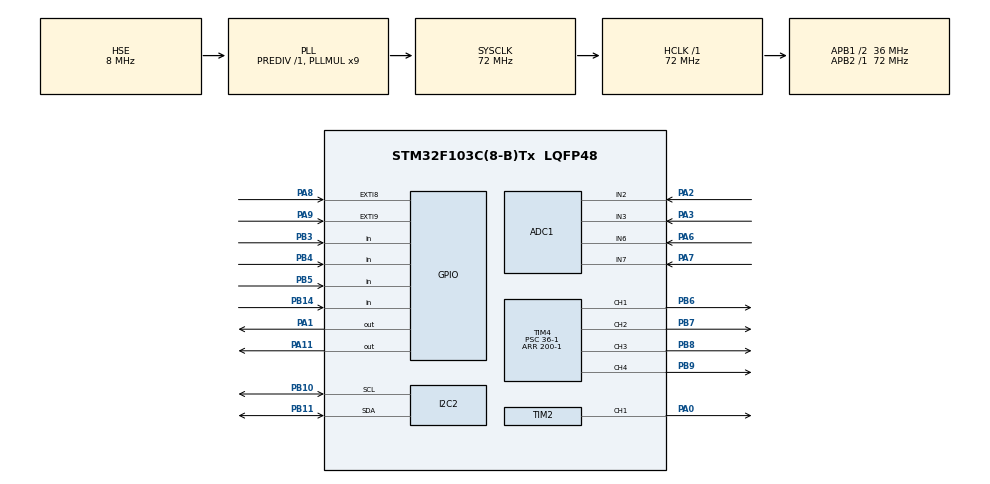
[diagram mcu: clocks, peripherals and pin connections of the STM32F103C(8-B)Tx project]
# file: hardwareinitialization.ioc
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ADC1.Channel-0\#ChannelRegularConversion=ADC_CHANNEL_2
ADC1.Channel-1\#ChannelRegularConversion=ADC_CHANNEL_6
ADC1.Channel-2\#ChannelRegularConversion=ADC_CHANNEL_7
ADC1.ContinuousConvMode=ENABLE
ADC1.EnableAnalogWatchDog=true
ADC1.NbrOfConversion=3
ADC1.NbrOfConversionFlag=1
ADC1.Rank-0\#ChannelRegularConversion=1
ADC1.Rank-1\#ChannelRegularConversion=2
ADC1.Rank-2\#ChannelRegularConversion=3
ADC1.SamplingTime-0\#ChannelRegularConversion=ADC_SAMPLETIME_41CYCLES_5
ADC1.SamplingTime-1\#ChannelRegularConversion=ADC_SAMPLETIME_41CYCLES_5
ADC1.SamplingTime-2\#ChannelRegularConversion=ADC_SAMPLETIME_41CYCLES_5
ADC1.WatchdogChannel=ADC_CHANNEL_2
ADC1.master=1
Dma.ADC1.0.Direction=DMA_PERIPH_TO_MEMORY
Dma.ADC1.0.Instance=DMA1_Channel1
Dma.ADC1.0.MemDataAlignment=DMA_MDATAALIGN_HALFWORD
Dma.ADC1.0.MemInc=DMA_MINC_ENABLE
Dma.ADC1.0.Mode=DMA_CIRCULAR
Dma.ADC1.0.PeriphDataAlignment=DMA_PDATAALIGN_HALFWORD
Dma.ADC1.0.PeriphInc=DMA_PINC_DISABLE
Dma.ADC1.0.Priority=DMA_PRIORITY_LOW
Dma.Request0=ADC1
Dma.Request1=TIM2_CH1
Dma.TIM2_CH1.1.Direction=DMA_MEMORY_TO_PERIPH
Dma.TIM2_CH1.1.Instance=DMA1_Channel5
Dma.TIM2_CH1.1.MemDataAlignment=DMA_MDATAALIGN_HALFWORD
Dma.TIM2_CH1.1.MemInc=DMA_MINC_ENABLE
Dma.TIM2_CH1.1.Mode=DMA_NORMAL
Dma.TIM2_CH1.1.PeriphDataAlignment=DMA_PDATAALIGN_HALFWORD
Dma.TIM2_CH1.1.PeriphInc=DMA_PINC_DISABLE
Dma.TIM2_CH1.1.Priority=DMA_PRIORITY_LOW
Mcu.Family=STM32F1
Mcu.Name=STM32F103C(8-B)Tx
Mcu.Package=LQFP48
NVIC.DMA1_Channel1_IRQn=true\:0\:0\:false\:false\:true\:false\:true\:true
NVIC.DMA1_Channel5_IRQn=true\:0\:0\:false\:false\:true\:false\:true\:true
NVIC.EXTI9_5_IRQn=true\:0\:0\:false\:false\:true\:true\:true\:true
NVIC.PriorityGroup=NVIC_PRIORITYGROUP_4
PA0-WKUP.Signal=S_TIM2_CH1_ETR
PA1.Signal=GPIO_Output
PA11.Signal=GPIO_Output
PA13.Mode=Serial_Wire
PA13.Signal=SYS_JTMS-SWDIO
PA14.Mode=Serial_Wire
PA14.Signal=SYS_JTCK-SWCLK
PA2.Signal=ADCx_IN2
PA3.Signal=ADCx_IN3
PA6.Signal=ADCx_IN6
PA7.Signal=ADCx_IN7
PA8.GPIO_ModeDefaultEXTI=GPIO_MODE_IT_RISING
PA8.GPIO_PuPd=GPIO_PULLDOWN
PA8.Signal=GPXTI8
PA9.Signal=GPXTI9
PB10.Mode=I2C
PB10.Signal=I2C2_SCL
PB11.Mode=I2C
PB11.Signal=I2C2_SDA
PB14.Signal=GPIO_Input
PB3.Signal=GPIO_Input
PB4.Signal=GPIO_Input
PB5.Signal=GPIO_Input
PB6.Signal=S_TIM4_CH1
PB7.Signal=S_TIM4_CH2
PB8.Signal=S_TIM4_CH3
PB9.Signal=S_TIM4_CH4
PD0-OSC_IN.Mode=HSE-External-Oscillator
PD0-OSC_IN.Signal=RCC_OSC_IN
PD1-OSC_OUT.Mode=HSE-External-Oscillator
PD1-OSC_OUT.Signal=RCC_OSC_OUT
ProjectManager.HeapSize=0x200
ProjectManager.StackSize=0x400
ProjectManager.TargetToolchain=STM32CubeIDE
RCC.ADCPresc=RCC_ADCPCLK2_DIV6
RCC.AHBFreq_Value=72000000
RCC.APB1CLKDivider=RCC_HCLK_DIV2
RCC.APB1Freq_Value=36000000
RCC.APB1TimFreq_Value=72000000
RCC.APB2Freq_Value=72000000
RCC.APB2TimFreq_Value=72000000
RCC.HCLKFreq_Value=72000000
RCC.PLLMUL=RCC_PLL_MUL9
RCC.PLLSourceVirtual=RCC_PLLSOURCE_HSE
RCC.SYSCLKFreq_VALUE=72000000
RCC.SYSCLKSource=RCC_SYSCLKSOURCE_PLLCLK
RCC.USBFreq_Value=72000000
SH.ADCx_IN2.0=ADC1_IN2,IN2
SH.ADCx_IN3.0=ADC1_IN3,IN3
SH.ADCx_IN6.0=ADC1_IN6,IN6
SH.ADCx_IN7.0=ADC1_IN7,IN7
SH.S_TIM2_CH1_ETR.0=TIM2_CH1,PWM Generation1 CH1
SH.S_TIM4_CH1.0=TIM4_CH1,PWM Generation1 CH1
SH.S_TIM4_CH2.0=TIM4_CH2,PWM Generation2 CH2
SH.S_TIM4_CH3.0=TIM4_CH3,PWM Generation3 CH3
SH.S_TIM4_CH4.0=TIM4_CH4,PWM Generation4 CH4
TIM1.AutoReloadPreload=TIM_AUTORELOAD_PRELOAD_ENABLE
TIM1.Period=1000
TIM1.Prescaler=259
TIM2.AutoReloadPreload=TIM_AUTORELOAD_PRELOAD_ENABLE
TIM2.Channel-PWM\ Generation1\ CH1=TIM_CHANNEL_1
TIM2.Period=89
TIM4.AutoReloadPreload=TIM_AUTORELOAD_PRELOAD_DISABLE
TIM4.Channel-PWM\ Generation1\ CH1=TIM_CHANNEL_1
TIM4.Channel-PWM\ Generation2\ CH2=TIM_CHANNEL_2
TIM4.Channel-PWM\ Generation3\ CH3=TIM_CHANNEL_3
TIM4.Channel-PWM\ Generation4\ CH4=TIM_CHANNEL_4
TIM4.Period=200-1
TIM4.Prescaler=36-1
VP_TIM1_VS_ClockSourceINT.Mode=Internal
VP_TIM2_VS_ClockSourceINT.Mode=Internal
VP_TIM4_VS_ClockSourceINT.Mode=Internal
board=custom

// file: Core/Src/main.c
/* USER CODE BEGIN Header */
/**
  ******************************************************************************
  * @file           : main.c
  * @brief          : Main program body
  ******************************************************************************
  * @attention
  *
  * Copyright (c) 2026 STMicroelectronics.
  * All rights reserved.
  *
  * This software is licensed under terms that can be found in the LICENSE file
  * in the root directory of this software component.
  * If no LICENSE file comes with this software, it is provided AS-IS.
  *
  ******************************************************************************
  */
/* USER CODE END Header */
#include "main.h"
#include "adc.h"
#include "dma.h"
#include "i2c.h"
#include "tim.h"
#include "gpio.h"

/* USER CODE BEGIN Includes */

#include "MySrc/debug_vars.h"
#include "MySrc/defines.h"
#include "MySrc/forward_range.h"
#include "MySrc/light.h"
#include "MySrc/magnet.h"
#include "MySrc/median_calculator.h"
#include "MySrc/move.h"
#include "MySrc/platform_adapter.h"
#include "MySrc/seek.h"
#include "MySrc/sharp_manager.h"
#include "MySrc/vl53l0x.h"
#include "MySrc/ws2812b.h"

/* USER CODE END Includes */

/* USER CODE BEGIN PD */

/* ===========================================================================
 *  SENSOR BENCH TESTS
 *  ---------------------------------------------------------------------------
 *  Only ONE test runs at a time. Set SENSOR_TEST_SELECT below, rebuild, flash.
 *  When a test is selected it runs forever and the normal robot logic (motors,
 *  ADC, etc.) never starts -- so the bot stays still on the bench.
 *  Set it back to SENSOR_TEST_NONE to build the real robot firmware again.
 * ===========================================================================*/
#define SENSOR_TEST_NONE        0
#define SENSOR_TEST_START_STOP  1   /* start_stop module on PA8 */
#define SENSOR_TEST_SHARP_IR    2   /* Sharp long IR x3 via SharpManager + ADC/DMA */
#define SENSOR_TEST_TOF         3   /* VL53L0X time-of-flight via Vl53l0x lib (I2C2) */

#ifndef SENSOR_TEST_SELECT
#define SENSOR_TEST_SELECT      SENSOR_TEST_NONE
#endif

/* USER CODE END PD */

/* USER CODE BEGIN PV */
/* Length MUST match the ADC's NbrOfConversion (5: IN1,IN2,IN3,IN6,IN7 =
 * PA1,PA2,PA3,PA6,PA7). A shorter circular buffer makes the channels rotate
 * through the slots and scrambles every Sharp reading. Slots: [0]=PA1 (magnet,
 * unused), [1]=PA2 IR_M, [2]=PA3 (unused), [3]=PA6 IR_L, [4]=PA7 IR_R. */
volatile uint16_t adc_raw[5] = {0};

static SharpManager g_sharp_manager;
static Vl53l0x g_tof;
static ForwardRange g_forward;
static MedianCalculator g_median_calculator;
static Move move;
static Seek g_seek;
static Magnet g_magnet;
static Light g_fr;
static Light g_fl;
static Light g_br;
static Light g_bl;

/* Fast seek tuning template: update values here for quick strategy iteration. */
static const SeekTuning g_seek_tuning = SEEK_TUNING_DEFAULT_INITIALIZER;
static volatile SeekMode g_seek_mode = SEEK_MODE_LOOK;

/* Match control signals (all active-high level inputs, stable from power-up):
 *   PB5 - strategy select, latched once at boot (0 -> strategy 0, 1 -> strategy 1)
 *   PA8 - start: the match begins when this reads 1
 *   PA9 - finish: the match ends (stop + magnets off) when this reads 1 */
#define APP_STRATEGY_PORT   GPIOB
#define APP_STRATEGY_PIN    GPIO_PIN_5
#define APP_START_PORT      GPIOA
#define APP_START_PIN       GPIO_PIN_8
#define APP_FINISH_PORT     GPIOA
#define APP_FINISH_PIN      GPIO_PIN_9

/* PA8 start gate and PA9 finish handling: when 1 the bot stays planted until the
 * start signal (PA8) goes high, then runs the strategy, and halts when the finish
 * signal (PA9) goes high. Set to 0 to run immediately and never auto-halt. */
#define APP_USE_START_FINISH_SIGNALS 1

/* Temporary bench behaviour: ignore the strategies and just drive straight
 * forward with the electromagnet held at 100. Set to 0 to restore the normal
 * strategy dispatch. */
#define APP_FORWARD_MAGNET_TEST 0
#define APP_FORWARD_TEST_SPEED  255

/* Edge reflex. The two wired light sensors watch the arena boundary: on the
 * trigger color the bot stops, backs off the line, then spins away from
 * whichever side hit it (left sensor -> rotate right, right sensor -> rotate
 * left), then resumes. Sensor->side mapping is set in App_SeesLine(); swap it
 * there if the bot turns the wrong way. Tune the durations/speeds here. */
#define APP_LINE_TRIGGER_COLOR  BBB_BLACK   /* color that counts as "the line"; flip to BBB_WHITE */
#define APP_LINE_BACKUP_MS      500U
#define APP_LINE_BACKUP_SPEED   255
#define APP_LINE_ROTATE_MS      500U
#define APP_LINE_ROTATE_SPEED   255

/* Forward distance (cm) at/below which a visible target counts as "catching"
 * (opponent right in front) rather than "chasing". Drives the magnet policy. */
#define APP_CATCH_DISTANCE_CM   20.0

typedef enum
{
    APP_STRATEGY_0 = 0,   /* PB5 == 0: seek / chase / catch (implemented) */
    APP_STRATEGY_1 = 1    /* PB5 == 1: alternate strategy (stub)          */
} AppStrategy;

static volatile AppStrategy g_strategy = APP_STRATEGY_0;

static Light *g_lights[4] =
{
  &g_fr,
  &g_fl,
  &g_br,
  &g_bl
};

static const uint8_t g_light_input_ids[4] =
{
  PLATFORM_LIGHT_INPUT_COL1,
  PLATFORM_LIGHT_INPUT_COL2,
  PLATFORM_LIGHT_INPUT_COL3,
  PLATFORM_LIGHT_INPUT_COL4
};

/* USER CODE END PV */

void SystemClock_Config(void);
/* USER CODE BEGIN PFP */
static void MX_USART1_UART_Init(void);
static void App_InitParityGpio(void);
static void App_Strategy0_Tick(void);   /* seek / chase / catch */
static void App_Strategy1_Tick(void);   /* alternate strategy (stub) */
static bool App_SeesLine(bool *rotate_dir);     /* PB3/PB4 on the line; sets turn-away dir */
static void App_LineAvoidManeuver(bool rotate_dir); /* stop -> reverse -> rotate -> resume */
#if SENSOR_TEST_SELECT != SENSOR_TEST_NONE
static void SensorTest_Run(void);
#endif

/* USER CODE END PFP */

int main(void)
{

  /* MCU Configuration--------------------------------------------------------*/

  /* Reset of all peripherals, Initializes the Flash interface and the Systick. */
  HAL_Init();

  /* Configure the system clock */
  SystemClock_Config();

  /* Initialize all configured peripherals */
  MX_GPIO_Init();
  MX_DMA_Init();
  MX_ADC1_Init();
  MX_TIM4_Init();
  MX_TIM2_Init();
  MX_I2C2_Init();
  MX_TIM1_Init();
  /* USER CODE BEGIN 2 */
#if SENSOR_TEST_SELECT != SENSOR_TEST_NONE
  /* Bench test mode: run the selected sensor test forever. Each test brings up
   * only the peripherals it needs. The motor startup below is intentionally
   * skipped so the bot stays still on the bench. */
  SensorTest_Run();   /* never returns */
#endif

  if (HAL_ADC_Start_DMA(&hadc1, (uint32_t *)adc_raw, 5) != HAL_OK)
  {
    Error_Handler();
  }

  HAL_TIM_PWM_Start(&htim4, TIM_CHANNEL_1);
  HAL_TIM_PWM_Start(&htim4, TIM_CHANNEL_2);
  HAL_TIM_PWM_Start(&htim4, TIM_CHANNEL_3);
  HAL_TIM_PWM_Start(&htim4, TIM_CHANNEL_4);

  App_InitParityGpio();

  SharpManager_Init(&g_sharp_manager);
  Vl53l0x_Init(&g_tof);
  ForwardRange_Init(&g_forward, &g_tof, &g_sharp_manager);
  MedianCalculator_Init(&g_median_calculator);
  Move_Init(&move);
  Seek_Init(&g_seek);
  Seek_SetTuning(&g_seek, &g_seek_tuning);
  Magnet_Init(&g_magnet);   /* PWM up + default holding force from power-up */
  WS2812B_Init();

  {
    uint32_t i;

    for (i = 0; i < 4U; ++i)
    {
      Light_Init(g_lights[i], g_light_input_ids[i], false);
    }
  }

#if APP_USE_START_FINISH_SIGNALS
  /* Start gate: stay planted (motors stopped, magnet engaged) until the start
   * signal goes high on PA8, so the bot never moves before the match begins. */
  Move_Stop(&move);
  Magnet_Default(&g_magnet);
  while (HAL_GPIO_ReadPin(APP_START_PORT, APP_START_PIN) == GPIO_PIN_RESET)
  {
    /* wait for start */
  }
#endif

  /* USER CODE END 2 */

  /* Infinite loop */
  while (1)
  {

    /* USER CODE BEGIN 3 */

#if APP_USE_START_FINISH_SIGNALS
    /* Finish: PA9 high ends the match. Stop driving, release the magnets, and
     * halt - no further sensing or movement. */
    if (HAL_GPIO_ReadPin(APP_FINISH_PORT, APP_FINISH_PIN) == GPIO_PIN_SET)
    {
      Move_Stop(&move);
      Magnet_Off(&g_magnet);
      break;
    }
#endif

    /* Edge reflex runs above the strategy: a line under either light sensor
     * means we are at the arena boundary, so back off and turn away from the
     * side that hit it before any normal driving this tick. */
    bool line_rotate_dir;
    if (App_SeesLine(&line_rotate_dir))
    {
      App_LineAvoidManeuver(line_rotate_dir);
    }
    else
    {
#if APP_FORWARD_MAGNET_TEST
    /* Straight-forward bench test: magnet at max, drive forward at max. */
    Magnet_SetStrength(&g_magnet, MAGNET_PWM_PERIOD);
    Move_Walk(&move, MOVE_FORWARD, APP_FORWARD_TEST_SPEED);
    Move_Update(&move);
#else
    if (g_strategy == APP_STRATEGY_1)
    {
      App_Strategy1_Tick();
    }
    else
    {
      App_Strategy0_Tick();
    }
#endif
    }

    HAL_Delay(5);
  }

#if APP_USE_START_FINISH_SIGNALS
  /* Match finished (PA9): remain stopped and de-energized for good. */
  Move_Stop(&move);
  Magnet_Off(&g_magnet);
  while (1)
  {
  }
#endif
  /* USER CODE END 3 */
}

void SystemClock_Config(void)
{
  RCC_OscInitTypeDef RCC_OscInitStruct = {0};
  RCC_ClkInitTypeDef RCC_ClkInitStruct = {0};
  RCC_PeriphCLKInitTypeDef PeriphClkInit = {0};

  /** Initializes the RCC Oscillators according to the specified parameters
  * in the RCC_OscInitTypeDef structure.
  */
  RCC_OscInitStruct.OscillatorType = RCC_OSCILLATORTYPE_HSE;
  RCC_OscInitStruct.HSEState = RCC_HSE_ON;
  RCC_OscInitStruct.HSEPredivValue = RCC_HSE_PREDIV_DIV1;
  RCC_OscInitStruct.HSIState = RCC_HSI_ON;
  RCC_OscInitStruct.PLL.PLLState = RCC_PLL_ON;
  RCC_OscInitStruct.PLL.PLLSource = RCC_PLLSOURCE_HSE;
  RCC_OscInitStruct.PLL.PLLMUL = RCC_PLL_MUL9;
  if (HAL_RCC_OscConfig(&RCC_OscInitStruct) != HAL_OK)
  {
    Error_Handler();
  }

  /** Initializes the CPU, AHB and APB buses clocks
  */
  RCC_ClkInitStruct.ClockType = RCC_CLOCKTYPE_HCLK|RCC_CLOCKTYPE_SYSCLK
                              |RCC_CLOCKTYPE_PCLK1|RCC_CLOCKTYPE_PCLK2;
  RCC_ClkInitStruct.SYSCLKSource = RCC_SYSCLKSOURCE_PLLCLK;
  RCC_ClkInitStruct.AHBCLKDivider = RCC_SYSCLK_DIV1;
  RCC_ClkInitStruct.APB1CLKDivider = RCC_HCLK_DIV2;
  RCC_ClkInitStruct.APB2CLKDivider = RCC_HCLK_DIV1;

  if (HAL_RCC_ClockConfig(&RCC_ClkInitStruct, FLASH_LATENCY_2) != HAL_OK)
  {
    Error_Handler();
  }
  PeriphClkInit.PeriphClockSelection = RCC_PERIPHCLK_ADC;
  PeriphClkInit.AdcClockSelection = RCC_ADCPCLK2_DIV6;
  if (HAL_RCCEx_PeriphCLKConfig(&PeriphClkInit) != HAL_OK)
  {
    Error_Handler();
  }
}

/* USER CODE BEGIN 4 */

#if SENSOR_TEST_SELECT == SENSOR_TEST_START_STOP
/*
 * start_stop module test (PA8).
 *   PA8 == 1  -> WS2812B LED red
 *   PA8 == 0  -> WS2812B LED blue
 * The signal is driven by another MCU (push-pull), so PA8 stays NOPULL.
 * PA8 is already configured as an input by MX_GPIO_Init(), so reading its level
 * works as-is. We only refresh the LED when the level changes to avoid hammering
 * the DMA every loop. Adjust LED_BRIGHTNESS (0..255) to taste.
 */
#define LED_BRIGHTNESS  120U

static void SensorTest_Run(void)
{
  GPIO_PinState last = (GPIO_PinState)2;  /* force a refresh on first pass */

  WS2812B_Init();

  for (;;)
  {
    GPIO_PinState now = HAL_GPIO_ReadPin(GPIOA, GPIO_PIN_8);

    if (now != last)
    {
      if (now == GPIO_PIN_SET)
      {
        WS2812B_SetColor(0U, LED_BRIGHTNESS, 0U, 0U);   /* PA8 = 1 -> red  */
      }
      else
      {
        WS2812B_SetColor(0U, 0U, 0U, LED_BRIGHTNESS);   /* PA8 = 0 -> blue */
      }
      WS2812B_Send();
      last = now;
    }

    HAL_Delay(10);   /* ~100 Hz poll, plenty for a start/stop signal */
  }
}
#endif /* SENSOR_TEST_START_STOP */

#if SENSOR_TEST_SELECT == SENSOR_TEST_SHARP_IR
/*
 * Sharp long-range IR test (3 sensors) using the existing SharpManager library
 * UNCHANGED. The Sharps are read through the ADC -> DMA buffer (adc_raw), so we
 * start the ADC scan here, then just call SharpManager_Update() in a loop.
 *
 * Watch these in the CubeIDE "Live Expressions" window (index 0=LEFT, 1=MIDDLE,
 * 2=RIGHT, matching the SharpSensor enum):
 *
 *     sharp_raw_adc      raw 12-bit ADC counts (0..4095)
 *     sharp_voltage      that ADC converted to volts (0..3.3)
 *     sharp_raw_cm       distance from the library, UNFILTERED
 *     sharp_dist_cm      distance from the library, EMA-FILTERED (what the robot uses)
 *     sharp_loop_count   increments every loop, so you can see it's alive
 *
 * Not static / not optimized away, so the debugger can always see them.
 */
volatile int    sharp_raw_adc[SHARP_SENSOR_COUNT];
volatile double sharp_voltage[SHARP_SENSOR_COUNT];
volatile double sharp_raw_cm[SHARP_SENSOR_COUNT];
volatile double sharp_dist_cm[SHARP_SENSOR_COUNT];
volatile uint32_t sharp_loop_count;

static SharpManager s_sharp_test;

static void SensorTest_Run(void)
{
  /* Start the ADC scan into adc_raw[] (DMA, circular). Length must match the
   * ADC's NbrOfConversion (5); see the note on adc_raw[] for the slot map. */
  if (HAL_ADC_Start_DMA(&hadc1, (uint32_t *)adc_raw, 5) != HAL_OK)
  {
    Error_Handler();
  }

  SharpManager_Init(&s_sharp_test);

  for (;;)
  {
    SharpManager_Update(&s_sharp_test);

    for (int i = 0; i < SHARP_SENSOR_COUNT; ++i)
    {
      sharp_raw_adc[i] = SharpManager_GetRawAdc(&s_sharp_test, (SharpSensor)i);
      sharp_voltage[i] = SharpManager_AdcToVoltage(sharp_raw_adc[i], 3.3, 4095.0);
      sharp_raw_cm[i]  = SharpManager_GetRawDistance(&s_sharp_test, (SharpSensor)i);
      sharp_dist_cm[i] = SharpManager_GetDistance(&s_sharp_test, (SharpSensor)i);
    }

    sharp_loop_count++;
    HAL_Delay(5);
  }
}
#endif /* SENSOR_TEST_SHARP_IR */

#if SENSOR_TEST_SELECT == SENSOR_TEST_TOF
/*
 * VL53L0X time-of-flight test using the existing Vl53l0x library UNCHANGED.
 * Runs on I2C2 (already brought up by MX_I2C2_Init() before this is called).
 * Vl53l0x_Init() boots the sensor and starts continuous ranging; we then poll
 * Vl53l0x_Update() in the loop.
 *
 * Watch these in Live Expressions:
 *
 *     tof_init_ok      1 = sensor answered and init succeeded, 0 = no/wrong device
 *     tof_valid        1 = current reading is in range, 0 = out of range / no target
 *     tof_distance_mm  latest range in millimetres
 *     tof_distance_cm  latest range in centimetres
 *     tof_loop_count   increments every loop, so you can see it's alive
 *
 * If tof_init_ok stays 0 -> I2C wiring / address / power problem (the loop will
 * still run, but distances stay 0).
 */
volatile uint8_t  tof_init_ok;
volatile uint8_t  tof_valid;
volatile uint16_t tof_distance_mm;
volatile double   tof_distance_cm;
volatile uint32_t tof_loop_count;

static Vl53l0x s_tof_test;

static void SensorTest_Run(void)
{
  tof_init_ok = (uint8_t)Vl53l0x_Init(&s_tof_test);

  for (;;)
  {
    Vl53l0x_Update(&s_tof_test);

    tof_valid       = (uint8_t)Vl53l0x_IsValid(&s_tof_test);
    tof_distance_mm = Vl53l0x_GetDistanceMm(&s_tof_test);
    tof_distance_cm = Vl53l0x_GetDistanceCm(&s_tof_test);

    tof_loop_count++;
    HAL_Delay(5);
  }
}
#endif /* SENSOR_TEST_TOF */

static void MX_USART1_UART_Init(void)
{
  GPIO_InitTypeDef gpio = {0};
  uint32_t brr;

  __HAL_RCC_USART1_CLK_ENABLE();
  __HAL_RCC_GPIOA_CLK_ENABLE();

  gpio.Pin = GPIO_PIN_9;
  gpio.Mode = GPIO_MODE_AF_PP;
  gpio.Speed = GPIO_SPEED_FREQ_HIGH;
  HAL_GPIO_Init(GPIOA, &gpio);

  gpio.Pin = GPIO_PIN_10;
  gpio.Mode = GPIO_MODE_INPUT;
  gpio.Pull = GPIO_NOPULL;
  HAL_GPIO_Init(GPIOA, &gpio);

  USART1->CR1 = 0U;
  USART1->CR2 = 0U;
  USART1->CR3 = 0U;

  brr = (HAL_RCC_GetPCLK2Freq() + (115200U / 2U)) / 115200U;
  USART1->BRR = brr;

  USART1->CR1 = USART_CR1_TE | USART_CR1_RE;
  USART1->CR1 |= USART_CR1_UE;
}

static void App_InitParityGpio(void)
{
  GPIO_InitTypeDef gpio = {0};

  __HAL_RCC_GPIOC_CLK_ENABLE();

  gpio.Pin = GPIO_PIN_13;
  gpio.Mode = GPIO_MODE_OUTPUT_PP;
  gpio.Pull = GPIO_NOPULL;
  gpio.Speed = GPIO_SPEED_FREQ_LOW;
  HAL_GPIO_Init(GPIOC, &gpio);

  gpio.Pin = GPIO_PIN_15;
  gpio.Mode = GPIO_MODE_INPUT;
  gpio.Pull = GPIO_NOPULL;
  HAL_GPIO_Init(GPIOA, &gpio);

  gpio.Pin = GPIO_PIN_3 | GPIO_PIN_4 | GPIO_PIN_13;
  gpio.Mode = GPIO_MODE_INPUT;
  gpio.Pull = GPIO_NOPULL;
  HAL_GPIO_Init(GPIOB, &gpio);

  /* PB5 = strategy select: pull-down so a disconnected line defaults to strategy 0. */
  gpio.Pin = GPIO_PIN_5;
  gpio.Mode = GPIO_MODE_INPUT;
  gpio.Pull = GPIO_PULLDOWN;
  HAL_GPIO_Init(GPIOB, &gpio);
}

/*
 * Returns true when either edge light sensor reports the line color, and sets
 * *rotate_dir to spin AWAY from the side that hit it:
 *   left  sensor: PB3 = COL2 = g_fl  -> ROT_RIGHT
 *   right sensor: PB4 = COL4 = g_bl  -> ROT_LEFT
 * If both are on the line, defaults to ROT_RIGHT. Swap g_fl/g_bl here if the
 * physical left/right is reversed. Trigger color is APP_LINE_TRIGGER_COLOR.
 */
static bool App_SeesLine(bool *rotate_dir)
{
  bool left_on_line  = (Light_GetCol(&g_fl) == APP_LINE_TRIGGER_COLOR);
  bool right_on_line = (Light_GetCol(&g_bl) == APP_LINE_TRIGGER_COLOR);

  if (!left_on_line && !right_on_line)
  {
    return false;
  }

  if (rotate_dir != 0)
  {
    *rotate_dir = left_on_line ? ROT_RIGHT : ROT_LEFT;
  }
  return true;
}

/*
 * Line reflex: stop, reverse off the line for APP_LINE_BACKUP_MS, then rotate in
 * place for APP_LINE_ROTATE_MS in rotate_dir, then stop. Normal movement resumes
 * on the next loop tick. This blocks for ~1 s, during which nothing else runs -
 * acceptable for a boundary escape (and intentional: the edge always wins over
 * seeking), but see the note if you need sensing live.
 */
static void App_LineAvoidManeuver(bool rotate_dir)
{
  Move_Stop(&move);

  Move_Walk(&move, MOVE_BACKWARD, APP_LINE_BACKUP_SPEED);
  Platform_DelayMs(APP_LINE_BACKUP_MS);

  Move_RotateOnPoint(&move, rotate_dir, APP_LINE_ROTATE_SPEED);
  Platform_DelayMs(APP_LINE_ROTATE_MS);

  Move_Stop(&move);
}

/*
 * Strategy 0 (PB5 == 0): seek / chase / catch.
 * One control tick - refresh sensors, pick the seek mode, drive, and set the
 * magnet grip from opponent proximity (default holding, stronger when close).
 */
static void App_Strategy0_Tick(void)
{
  SharpManager_Update(&g_sharp_manager);
  Vl53l0x_Update(&g_tof);

  ForwardRange_Update(&g_forward);

  /* Seek mode: scan when no target, CATCH when the opponent is right in front
   * (forward distance <= APP_CATCH_DISTANCE_CM), otherwise CHASE. Magnet policy:
   * grip while SEEKING (planted, stable spin) and CATCHING (clamp to push), but
   * release while CHASING for a lighter, faster approach. */
  if (!Seek_IsTargetVisible(&g_seek))
  {
    g_seek_mode = SEEK_MODE_LOOK;
    Magnet_Default(&g_magnet);   /* grip: stay planted while spinning to search */
  }
  else if (ForwardRange_IsValid(&g_forward) &&
           (ForwardRange_GetDistanceCm(&g_forward) <= APP_CATCH_DISTANCE_CM))
  {
    g_seek_mode = SEEK_MODE_CATCH;
    Magnet_Default(&g_magnet);   /* grip: clamp down to push the opponent out */
  }
  else
  {
    g_seek_mode = SEEK_MODE_CHASE;
    Magnet_Off(&g_magnet);       /* release: light and fast while closing in */
  }

  Seek_Update(&g_seek, g_seek_mode, &move, &g_forward, &g_sharp_manager);
  Move_Update(&move);
}

/*
 * Strategy 1 (PB5 == 1): alternate strategy.
 * TODO: implement the second behaviour here. Runs every ~5 ms while the match
 * is active. The shared modules (g_sharp_manager, g_tof, g_forward,
 * g_seek, move, g_magnet) are available exactly as in App_Strategy0_Tick.
 */
static void App_Strategy1_Tick(void)
{
  /* Placeholder: hold still until implemented. */
  Move_Stop(&move);
  Magnet_Default(&g_magnet);
}

/* USER CODE END 4 */

void Error_Handler(void)
{
  __disable_irq();
  while (1)
  {
  }
}
